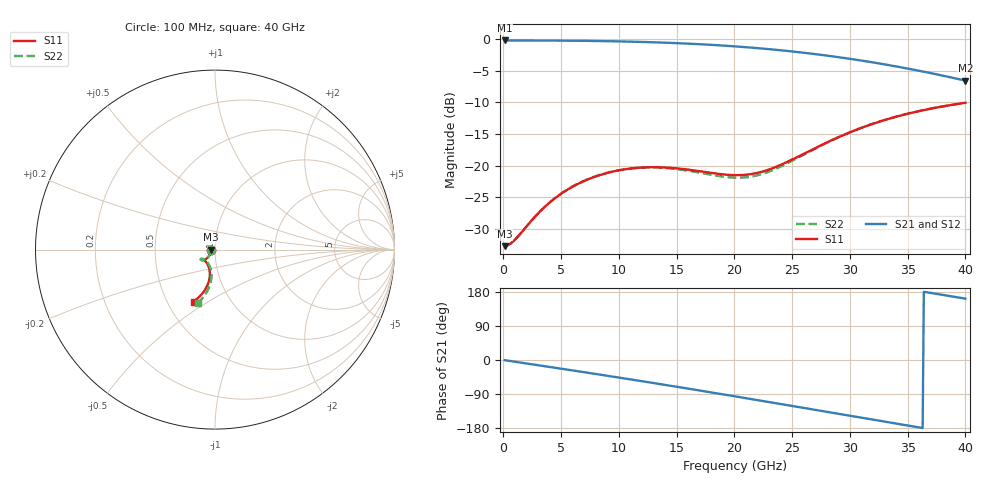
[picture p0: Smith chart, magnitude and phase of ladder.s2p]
! E_s8_L1L8_p1000_round_g0: via ladder as kisi uses it (kisi_si::via_pbm, graded grid, junction model), differential mode (per line 50 ohm)
# Hz S RI R 50
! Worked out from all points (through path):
!   400 points, 100 MHz to 40 GHz, reference 50 ohm
!   highest |S21| = -0.20 dB at 100 MHz (marker M1); lowest = -6.6 dB at 40 GHz (marker M2)
!   group delay of S21, straight-line fit = 13.9 ps
!   lowest |S11| = -32.8 dB at 100 MHz (marker M3), VSWR 1.05, Z = 47.8 - j0.0987 ohm
!   |S11| at or under -10 dB: start of sweep to end of sweep
!   |S22| runs from -32.8 to -10.1 dB; largest |S21 - S12| = 0
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1e8  -0.023 -0.00103  0.977 -0.00777  0.977 -0.00777  -0.023 -0.00104
9e8  -0.0237 -0.00924  0.9744 -0.0698  0.9744 -0.0698  -0.0237 -0.00929
2.9e9  -0.0295 -0.0283  0.9502 -0.2235  0.9502 -0.2235  -0.0296 -0.0285
4.1e9  -0.0353 -0.038  0.9234 -0.3134  0.9234 -0.3134  -0.0354 -0.0382
5.4e9  -0.0428 -0.0466  0.884 -0.4075  0.884 -0.4075  -0.0431 -0.0467
6.8e9  -0.0517 -0.0532  0.8298 -0.5037  0.8298 -0.5037  -0.0521 -0.0533
9.9e9  -0.0697 -0.0589  0.6693 -0.6898  0.6693 -0.6898  -0.0703 -0.0585
1.34e10  -0.0796 -0.0555  0.432 -0.8376  0.432 -0.8376  -0.0797 -0.0542
1.51e10  -0.0785 -0.0533  0.3019 -0.8794  0.3019 -0.8794  -0.0781 -0.0516
1.68e10  -0.0738 -0.0528  0.1669 -0.8991  0.1669 -0.8991  -0.0725 -0.0509
1.84e10  -0.0665 -0.0552  0.039 -0.8966  0.039 -0.8966  -0.0642 -0.0532
2.01e10  -0.0569 -0.0618  -0.0934 -0.8716  -0.0934 -0.8716  -0.0535 -0.0598
2.15e10  -0.0485 -0.0707  -0.1965 -0.8342  -0.1965 -0.8342  -0.0441 -0.069
2.28e10  -0.0413 -0.082  -0.2853 -0.787  -0.2853 -0.787  -0.0358 -0.0807
2.48e10  -0.0325 -0.1044  -0.4046 -0.6939  -0.4046 -0.6939  -0.0256 -0.1038
2.67e10  -0.0287 -0.1302  -0.4944 -0.5873  -0.4944 -0.5873  -0.0203 -0.1305
2.84e10  -0.0299 -0.1555  -0.5528 -0.4821  -0.5528 -0.4821  -0.02 -0.1566
3e10  -0.0352 -0.1798  -0.5879 -0.3788  -0.5879 -0.3788  -0.0239 -0.1816
3.17e10  -0.045 -0.2047  -0.6044 -0.2692  -0.6044 -0.2692  -0.032 -0.2075
3.34e10  -0.0581 -0.2276  -0.6009 -0.1639  -0.6009 -0.1639  -0.0433 -0.2314
3.68e10  -0.0899 -0.2649  -0.5433 0.0196  -0.5433 0.0196  -0.0707 -0.271
4e10  -0.1193 -0.2901  -0.4465 0.1458  -0.4465 0.1458  -0.0953 -0.2991
